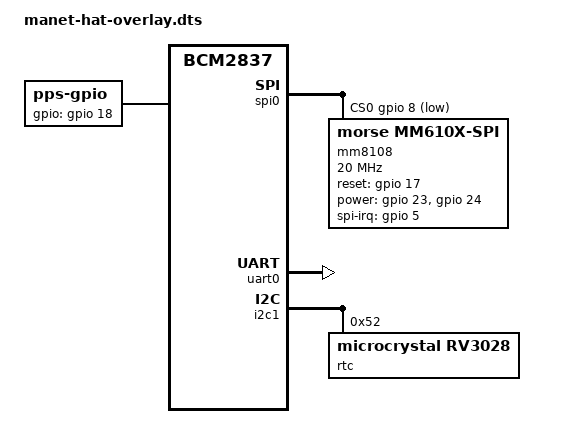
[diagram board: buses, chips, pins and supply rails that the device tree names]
// Device-tree overlay for the Pi Zero 2 W MANET HAT.
//
// Pin assignment matches the OpenMANET Pi Zero 2 W MM8108/MM6108 *SPI* firmware
// variant so the stock OpenMANET driver/userspace works unchanged:
//   SPI0, CS0 = GPIO8, RESET = GPIO17, power/wake = GPIO23 + GPIO24,
//   IRQ/BUSY = GPIO5, spi-max-frequency = 20 MHz, compatible "morse,mm610x-spi".
// Also wires the NEO-M9N (UART0 + 1 PPS on GPIO18) on this board.
//
// Build:   dtc -@ -I dts -O dtb -o manet-hat.dtbo manet-hat-overlay.dts
// Install: copy manet-hat.dtbo to /boot/firmware/overlays/ and add
//          "dtoverlay=manet-hat" to config.txt (see docs/INTERFACES.md).
//
// NOTE: confirm the MM8108 driver's compatible string for your OpenMANET build
// ("morse,mm610x-spi" works for the mm610x driver; an MM8108-specific build may
//  use "morse,mm8108-spi"). Update below to match the kernel module in use.

/dts-v1/;
/plugin/;

/ {
    compatible = "brcm,bcm2837";   // BCM2710A1 on the Pi Zero 2 W

    /* SPI0 with the MM8108 radio on CS0 (GPIO8) */
    fragment@0 {
        target = <&spi0>;
        __overlay__ {
            #address-cells = <1>;
            #size-cells = <0>;
            status = "okay";

            /* free CE1; keep CE0 (GPIO8) for the radio */
            cs-gpios = <&gpio 8 1>;   /* GPIO8, active low */

            mm8108: mm8108@0 {
                compatible = "morse,mm610x-spi";
                reg = <0>;                          /* CS0 */
                spi-max-frequency = <20000000>;     /* 20 MHz */
                reset-gpios = <&gpio 17 0>;         /* GPIO17 */
                power-gpios = <&gpio 23 0>, <&gpio 24 0>;  /* GPIO23, GPIO24 */
                spi-irq-gpios = <&gpio 5 0>;        /* GPIO5 IRQ/BUSY */
                status = "okay";
            };
        };
    };

    /* Pin muxing for the radio control GPIOs */
    fragment@1 {
        target = <&gpio>;
        __overlay__ {
            mm8108_pins: mm8108_pins {
                brcm,pins = <17 23 24 5>;
                brcm,function = <1 1 1 0>;   /* 1=out (reset,pwr), 0=in (irq) */
            };
        };
    };

    /* UART0 (PL011) for the NEO-M9N GNSS */
    fragment@2 {
        target = <&uart0>;
        __overlay__ {
            status = "okay";
        };
    };

    /* 1 PPS from the NEO-M9N on GPIO18 (phys 12) */
    fragment@3 {
        target-path = "/";
        __overlay__ {
            pps: pps@0 {
                compatible = "pps-gpio";
                gpios = <&gpio 18 0>;
                status = "okay";
            };
        };
    };

    /* I2C1 + RV-3028 RTC (addr 0x52). GNSS DDC (0x42) also lives on I2C1. */
    fragment@4 {
        target = <&i2c1>;
        __overlay__ {
            #address-cells = <1>;
            #size-cells = <0>;
            status = "okay";

            rtc: rtc@52 {
                compatible = "microcrystal,rv3028";
                reg = <0x52>;
                /* optional: wakeup-source; interrupts via GPIO26 if wired */
                status = "okay";
            };
        };
    };
};

/*
 * NOTE on the external E21 PA T/R control:
 * The MM8108-MF15457 module exposes no hardware TX/RX FEM line. To switch the
 * E21 in sync with bursts, OpenMANET firmware must toggle module GPIO0/GPIO1
 * (PA_TX_CTL / PA_RX_CTL). If the firmware build does not support a PA-enable
 * GPIO, populate the on-board RF-sense auto-T/R circuit instead (see
 * docs/COMPONENTS_GAP.md N4). Pull-downs keep the E21 in Shutdown by default.
 */
